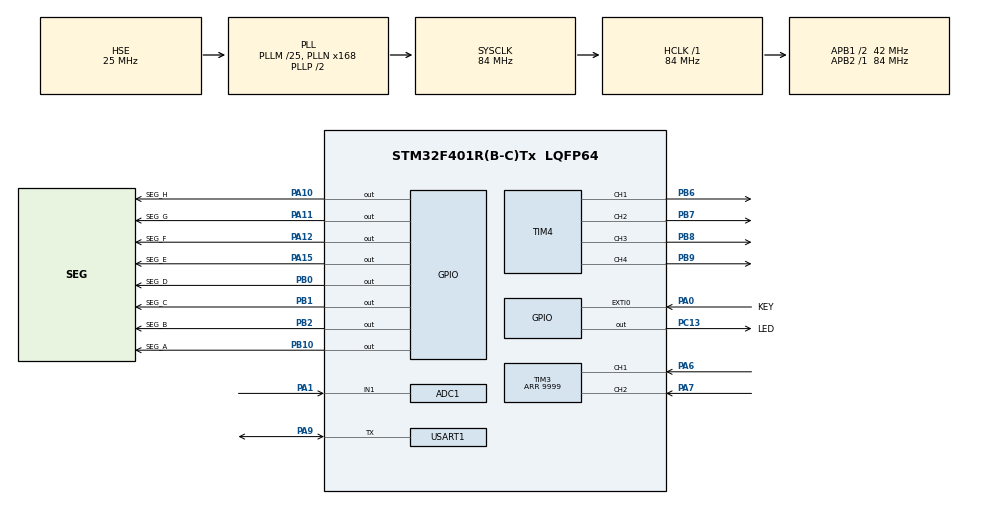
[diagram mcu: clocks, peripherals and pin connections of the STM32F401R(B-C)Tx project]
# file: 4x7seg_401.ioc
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ADC1.Channel-3\#ChannelRegularConversion=ADC_CHANNEL_1
ADC1.ContinuousConvMode=ENABLE
ADC1.EOCSelection=ADC_EOC_SEQ_CONV
ADC1.NbrOfConversionFlag=1
ADC1.Rank-3\#ChannelRegularConversion=1
ADC1.SamplingTime-3\#ChannelRegularConversion=ADC_SAMPLETIME_3CYCLES
ADC1.master=1
Mcu.Family=STM32F4
Mcu.Name=STM32F401R(B-C)Tx
Mcu.Package=LQFP64
NVIC.EXTI0_IRQn=true\:0\:0\:false\:false\:true\:true\:true\:true
NVIC.PriorityGroup=NVIC_PRIORITYGROUP_4
NVIC.TIM1_UP_TIM10_IRQn=true\:0\:0\:false\:false\:true\:true\:true\:true
NVIC.TIM3_IRQn=true\:0\:0\:false\:false\:true\:true\:true\:true
PA0-WKUP.GPIO_Label=KEY
PA0-WKUP.GPIO_PuPd=GPIO_PULLUP
PA0-WKUP.Signal=GPXTI0
PA1.Signal=ADCx_IN1
PA10.GPIO_Label=SEG_H
PA10.GPIO_PuPd=GPIO_PULLDOWN
PA10.Signal=GPIO_Output
PA11.GPIO_Label=SEG_G
PA11.GPIO_PuPd=GPIO_PULLDOWN
PA11.Signal=GPIO_Output
PA12.GPIO_Label=SEG_F
PA12.GPIO_PuPd=GPIO_PULLDOWN
PA12.Signal=GPIO_Output
PA15.GPIO_Label=SEG_E
PA15.GPIO_PuPd=GPIO_PULLDOWN
PA15.Signal=GPIO_Output
PA6.Signal=S_TIM3_CH1
PA7.Signal=S_TIM3_CH2
PA9.Mode=Half_duplex(single_wire_mode)
PA9.Signal=USART1_TX
PB0.GPIO_Label=SEG_D
PB0.GPIO_PuPd=GPIO_PULLDOWN
PB0.Signal=GPIO_Output
PB1.GPIO_Label=SEG_C
PB1.GPIO_PuPd=GPIO_PULLDOWN
PB1.Signal=GPIO_Output
PB10.GPIO_Label=SEG_A
PB10.GPIO_PuPd=GPIO_PULLDOWN
PB10.Signal=GPIO_Output
PB2.GPIO_Label=SEG_B
PB2.GPIO_PuPd=GPIO_PULLDOWN
PB2.Signal=GPIO_Output
PB6.Signal=S_TIM4_CH1
PB7.Signal=S_TIM4_CH2
PB8.Signal=S_TIM4_CH3
PB9.Signal=S_TIM4_CH4
PC13-ANTI_TAMP.GPIO_Label=LED
PC13-ANTI_TAMP.PinState=GPIO_PIN_SET
PC13-ANTI_TAMP.Signal=GPIO_Output
PC14-OSC32_IN.Mode=LSE-External-Oscillator
PC14-OSC32_IN.Signal=RCC_OSC32_IN
PC15-OSC32_OUT.Mode=LSE-External-Oscillator
PC15-OSC32_OUT.Signal=RCC_OSC32_OUT
PH0\ -\ OSC_IN.Mode=HSE-External-Oscillator
PH0\ -\ OSC_IN.Signal=RCC_OSC_IN
PH1\ -\ OSC_OUT.Mode=HSE-External-Oscillator
PH1\ -\ OSC_OUT.Signal=RCC_OSC_OUT
ProjectManager.HeapSize=0x200
ProjectManager.StackSize=0x400
ProjectManager.TargetToolchain=STM32CubeIDE
RCC.48MHZClocksFreq_Value=42000000
RCC.AHBFreq_Value=84000000
RCC.APB1CLKDivider=RCC_HCLK_DIV2
RCC.APB1Freq_Value=42000000
RCC.APB1TimFreq_Value=84000000
RCC.APB2Freq_Value=84000000
RCC.APB2TimFreq_Value=84000000
RCC.CortexFreq_Value=84000000
RCC.HCLKFreq_Value=84000000
RCC.HSE_VALUE=25000000
RCC.HSI_VALUE=16000000
RCC.PLLM=25
RCC.PLLN=168
RCC.PLLSourceVirtual=RCC_PLLSOURCE_HSE
RCC.SYSCLKFreq_VALUE=84000000
RCC.SYSCLKSource=RCC_SYSCLKSOURCE_PLLCLK
RCC.VCOOutputFreq_Value=168000000
SH.ADCx_IN1.0=ADC1_IN1,IN1
SH.S_TIM3_CH1.0=TIM3_CH1,Encoder_Interface
SH.S_TIM3_CH2.0=TIM3_CH2,Encoder_Interface
SH.S_TIM4_CH1.0=TIM4_CH1,PWM Generation1 CH1
SH.S_TIM4_CH2.0=TIM4_CH2,PWM Generation2 CH2
SH.S_TIM4_CH3.0=TIM4_CH3,PWM Generation3 CH3
SH.S_TIM4_CH4.0=TIM4_CH4,PWM Generation4 CH4
TIM10.Period=41999
TIM10.Prescaler=999
TIM3.Period=9999
TIM4.Channel-PWM\ Generation1\ CH1=TIM_CHANNEL_1
TIM4.Channel-PWM\ Generation2\ CH2=TIM_CHANNEL_2
TIM4.Channel-PWM\ Generation3\ CH3=TIM_CHANNEL_3
TIM4.Channel-PWM\ Generation4\ CH4=TIM_CHANNEL_4
USART1.VirtualMode=VM_ASYNC
VP_TIM10_VS_ClockSourceINT.Mode=Enable_Timer
board=custom

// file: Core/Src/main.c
/* USER CODE BEGIN Header */
/**
  ******************************************************************************
  * @file           : main.c
  * @brief          : Main program body
  ******************************************************************************
  * @attention
  *
  * Copyright (c) 2026 STMicroelectronics.
  * All rights reserved.
  *
  * This software is licensed under terms that can be found in the LICENSE file
  * in the root directory of this software component.
  * If no LICENSE file comes with this software, it is provided AS-IS.
  *
  ******************************************************************************
  */
/* USER CODE END Header */
#include "main.h"
#include "adc.h"
#include "tim.h"
#include "usart.h"
#include "gpio.h"

/* USER CODE BEGIN Includes */
#include <stdio.h>
#include <stdint.h>
#include <stdbool.h>
/* USER CODE END Includes */

void SystemClock_Config(void);

/* USER CODE BEGIN 0 */
// to get printf() work
int __io_putchar(int ch)
{
  if (ch == '\n') {
    static uint8_t cr = '\r';
    HAL_UART_Transmit(&huart1, &cr, 1, 1);
  }
  HAL_UART_Transmit(&huart1, (uint8_t *)&ch, 1, 1);
  return ch;
}

struct segment_t {
  GPIO_TypeDef* port;
  uint16_t pin;
};

static struct segment_t const g_segments[] = {
  { .port = SEG_A_GPIO_Port, .pin = SEG_A_Pin },
  { .port = SEG_B_GPIO_Port, .pin = SEG_B_Pin },
  { .port = SEG_C_GPIO_Port, .pin = SEG_C_Pin },
  { .port = SEG_D_GPIO_Port, .pin = SEG_D_Pin },
  { .port = SEG_E_GPIO_Port, .pin = SEG_E_Pin },
  { .port = SEG_F_GPIO_Port, .pin = SEG_F_Pin },
  { .port = SEG_G_GPIO_Port, .pin = SEG_G_Pin },
  { .port = SEG_H_GPIO_Port, .pin = SEG_H_Pin },
};

static void display_segments(uint8_t s)
{
  for (uint8_t i = 0; i < 8; i++) {
    GPIO_PinState state = (s & (1 << i)) > 0 ? GPIO_PIN_SET : GPIO_PIN_RESET;
    HAL_GPIO_WritePin(g_segments[i].port, g_segments[i].pin, state);
  }
}

static uint8_t const g_numbers[] = {
  (1 << 0) | (1 << 1) | (1 << 2) | (1 << 3) | (1 << 4) | (1 << 5) | (0 << 6),
  (0 << 0) | (1 << 1) | (1 << 2) | (0 << 3) | (0 << 4) | (0 << 5) | (0 << 6),
  (1 << 0) | (1 << 1) | (0 << 2) | (1 << 3) | (1 << 4) | (0 << 5) | (1 << 6),
  (1 << 0) | (1 << 1) | (1 << 2) | (1 << 3) | (0 << 4) | (0 << 5) | (1 << 6),
  (0 << 0) | (1 << 1) | (1 << 2) | (0 << 3) | (0 << 4) | (1 << 5) | (1 << 6),
  (1 << 0) | (0 << 1) | (1 << 2) | (1 << 3) | (0 << 4) | (1 << 5) | (1 << 6),
  (1 << 0) | (0 << 1) | (1 << 2) | (1 << 3) | (1 << 4) | (1 << 5) | (1 << 6),
  (1 << 0) | (1 << 1) | (1 << 2) | (0 << 3) | (0 << 4) | (0 << 5) | (0 << 6),
  (1 << 0) | (1 << 1) | (1 << 2) | (1 << 3) | (1 << 4) | (1 << 5) | (1 << 6),
  (1 << 0) | (1 << 1) | (1 << 2) | (1 << 3) | (0 << 4) | (1 << 5) | (1 << 6),

  (1 << 0) | (1 << 1) | (1 << 2) | (0 << 3) | (1 << 4) | (1 << 5) | (1 << 6),
  (0 << 0) | (0 << 1) | (1 << 2) | (1 << 3) | (1 << 4) | (1 << 5) | (1 << 6),
  (1 << 0) | (0 << 1) | (0 << 2) | (1 << 3) | (1 << 4) | (1 << 5) | (0 << 6),
  (0 << 0) | (1 << 1) | (1 << 2) | (1 << 3) | (1 << 4) | (0 << 5) | (1 << 6),
  (1 << 0) | (0 << 1) | (0 << 2) | (1 << 3) | (1 << 4) | (1 << 5) | (1 << 6),
  (1 << 0) | (0 << 1) | (0 << 2) | (0 << 3) | (1 << 4) | (1 << 5) | (1 << 6),
};

static void display_number(int v, bool add_dot)
{
  if (v < 0 || v > 16) return;
  display_segments(g_numbers[v] | (add_dot ? 0x80 : 0x00));
}

static void set_active_digit(int d)
{
  if (d < 0 || d > 3) return;
  htim4.Instance->CCER &= ~TIM_CCER_CCxE_MASK;
  htim4.Instance->CCER |= (1 << d*4);
}

long map(long x, long in_min, long in_max, long out_min, long out_max) {
  return (x - in_min) * (out_max - out_min) / (in_max - in_min) + out_min;
}
/* USER CODE END 0 */

int main(void)
{

  /* MCU Configuration--------------------------------------------------------*/

  /* Reset of all peripherals, Initializes the Flash interface and the Systick. */
  HAL_Init();

  /* Configure the system clock */
  SystemClock_Config();

  /* Initialize all configured peripherals */
  MX_GPIO_Init();
  MX_TIM3_Init();
  MX_USART1_UART_Init();
  MX_TIM10_Init();
  MX_TIM4_Init();
  MX_ADC1_Init();
  /* USER CODE BEGIN 2 */
  HAL_TIM_Encoder_Start(&htim3, TIM_CHANNEL_ALL);
  HAL_TIM_Base_Start_IT(&htim10);
  HAL_TIM_PWM_Start(&htim4, TIM_CHANNEL_1);
  HAL_TIM_PWM_Start(&htim4, TIM_CHANNEL_2);
  HAL_TIM_PWM_Start(&htim4, TIM_CHANNEL_3);
  HAL_TIM_PWM_Start(&htim4, TIM_CHANNEL_4);
  HAL_ADC_Start(&hadc1);

  htim4.Instance->CCR1 = htim4.Instance->ARR / 4;
  htim4.Instance->CCR2 = htim4.Instance->ARR / 4;
  htim4.Instance->CCR3 = htim4.Instance->ARR / 4;
  htim4.Instance->CCR4 = htim4.Instance->ARR / 4;
/*
  HAL_GPIO_WritePin(SEG_A_GPIO_Port, SEG_A_Pin, SET);
  HAL_GPIO_WritePin(SEG_B_GPIO_Port, SEG_B_Pin, SET);
  HAL_GPIO_WritePin(SEG_C_GPIO_Port, SEG_C_Pin, SET);
  HAL_GPIO_WritePin(SEG_D_GPIO_Port, SEG_D_Pin, SET);
  HAL_GPIO_WritePin(SEG_E_GPIO_Port, SEG_E_Pin, SET);
  HAL_GPIO_WritePin(SEG_F_GPIO_Port, SEG_F_Pin, SET);
  HAL_GPIO_WritePin(SEG_G_GPIO_Port, SEG_G_Pin, SET);
  HAL_GPIO_WritePin(SEG_H_GPIO_Port, SEG_H_Pin, SET);
*/
  /* USER CODE END 2 */

  /* Infinite loop */
  /* USER CODE BEGIN WHILE */
  int d = 0;
//  uint8_t const data[] = {0x39, 0x67, 0x7C, 0x0F};
  int values[] = {1, 2, 3, 4};
  htim3.Instance->CNT = htim3.Instance->ARR / 2 + 1;
  while (1)
  {
//    int cnt_dwn = __HAL_TIM_IS_TIM_COUNTING_DOWN(&htim3);
//    printf("val: %lu, dwn: %d\n", htim3.Instance->CNT, cnt_dwn);
    if (d == 0) {
      long cnt = htim3.Instance->CNT;
      values[0] = cnt / 1e3; cnt -= values[0] * 1e3;
      values[1] = cnt / 1e2; cnt -= values[1] * 1e2;
      values[2] = cnt / 1e1; cnt -= values[2] * 1e1;
      values[3] = cnt;

      if (HAL_ADC_PollForConversion(&hadc1, 2) == HAL_OK) {
	uint32_t val = HAL_ADC_GetValue(&hadc1);
	val = map(val, 250, 3750, htim4.Instance->ARR / 16, htim4.Instance->ARR / 2);
	htim4.Instance->CCR1 = val;
	htim4.Instance->CCR2 = val;
	htim4.Instance->CCR3 = val;
	htim4.Instance->CCR4 = val;
      }
    }
    set_active_digit(d);
//    display_segments(data[d]);
    display_number(values[d], false);
    HAL_Delay(2);
    if (++d == 4) d = 0;
    /* USER CODE END WHILE */

    /* USER CODE BEGIN 3 */
/*
    for (int i = 0; i < 16; i++) {
      display_number(i, false);
      HAL_Delay(1500);
    }
*/
  }
  /* USER CODE END 3 */
}

void SystemClock_Config(void)
{
  RCC_OscInitTypeDef RCC_OscInitStruct = {0};
  RCC_ClkInitTypeDef RCC_ClkInitStruct = {0};

  /** Configure the main internal regulator output voltage
  */
  __HAL_RCC_PWR_CLK_ENABLE();
  __HAL_PWR_VOLTAGESCALING_CONFIG(PWR_REGULATOR_VOLTAGE_SCALE2);

  /** Initializes the RCC Oscillators according to the specified parameters
  * in the RCC_OscInitTypeDef structure.
  */
  RCC_OscInitStruct.OscillatorType = RCC_OSCILLATORTYPE_HSE;
  RCC_OscInitStruct.HSEState = RCC_HSE_ON;
  RCC_OscInitStruct.PLL.PLLState = RCC_PLL_ON;
  RCC_OscInitStruct.PLL.PLLSource = RCC_PLLSOURCE_HSE;
  RCC_OscInitStruct.PLL.PLLM = 25;
  RCC_OscInitStruct.PLL.PLLN = 168;
  RCC_OscInitStruct.PLL.PLLP = RCC_PLLP_DIV2;
  RCC_OscInitStruct.PLL.PLLQ = 4;
  if (HAL_RCC_OscConfig(&RCC_OscInitStruct) != HAL_OK)
  {
    Error_Handler();
  }

  /** Initializes the CPU, AHB and APB buses clocks
  */
  RCC_ClkInitStruct.ClockType = RCC_CLOCKTYPE_HCLK|RCC_CLOCKTYPE_SYSCLK
                              |RCC_CLOCKTYPE_PCLK1|RCC_CLOCKTYPE_PCLK2;
  RCC_ClkInitStruct.SYSCLKSource = RCC_SYSCLKSOURCE_PLLCLK;
  RCC_ClkInitStruct.AHBCLKDivider = RCC_SYSCLK_DIV1;
  RCC_ClkInitStruct.APB1CLKDivider = RCC_HCLK_DIV2;
  RCC_ClkInitStruct.APB2CLKDivider = RCC_HCLK_DIV1;

  if (HAL_RCC_ClockConfig(&RCC_ClkInitStruct, FLASH_LATENCY_2) != HAL_OK)
  {
    Error_Handler();
  }
}

/* USER CODE BEGIN 4 */
void HAL_TIM_PeriodElapsedCallback(TIM_HandleTypeDef *htim)
{
  HAL_GPIO_TogglePin(GPIOC, GPIO_PIN_13);
}

void HAL_GPIO_EXTI_Callback(uint16_t GPIO_Pin)
{
  if (GPIO_Pin == KEY_Pin) {
    htim3.Instance->CNT = htim3.Instance->ARR / 2 + 1;
  }
}

void HAL_ADC_ConvCpltCallback(ADC_HandleTypeDef *hadc)
{
  static uint32_t last_check = 0;
  if (HAL_GetTick() - last_check > 250) {
      last_check = HAL_GetTick();
      uint32_t adc_val = HAL_ADC_GetValue(&hadc1);
      printf("adc value: %lu\n", adc_val);
  }
}
/* USER CODE END 4 */

void Error_Handler(void)
{
  __disable_irq();
  while (1)
  {
  }
}
